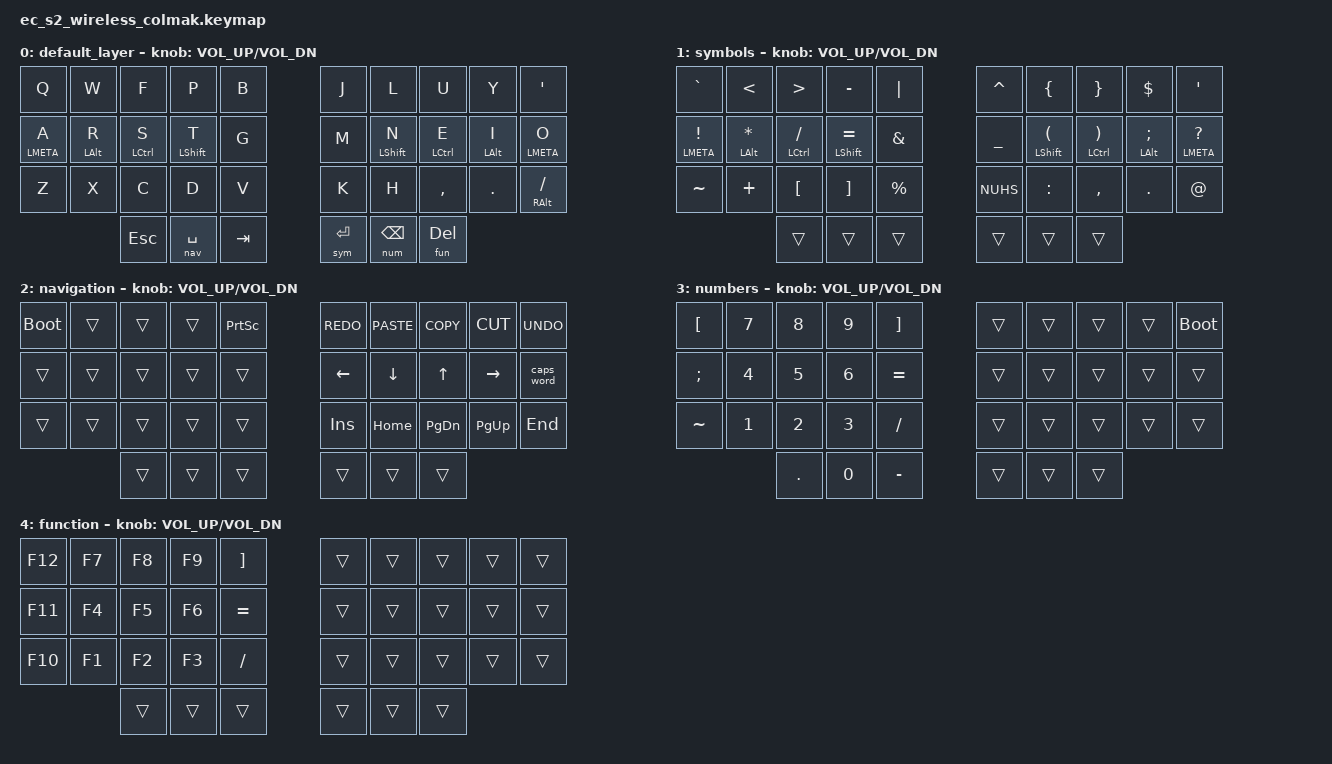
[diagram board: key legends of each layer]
#include <behaviors.dtsi>
#include <dt-bindings/zmk/keys.h>
#include <dt-bindings/zmk/bt.h>

/ {  
  keymap {
    compatible = "zmk,keymap";
    #define sym 1
    #define nav 2
    #define num 3
    #define fun 4

    default_layer {
      bindings = <
        &kp Q        &kp W       &kp F        &kp P        &kp B  &kp J  &kp L        &kp U        &kp Y       &kp SQT
        &mt LMETA A  &mt LALT R  &mt LCTRL S  &mt LSHFT T  &kp G  &kp M  &mt LSHFT N  &mt LCTRL E  &mt LALT I  &mt LMETA O
        &kp Z        &kp X       &kp C        &kp D        &kp V  &kp K  &kp H        &kp COMMA    &kp DOT     &mt RALT SLASH

        &kp ESC  &lt nav SPACE   &kp TAB   &lt sym RETURN  &lt num BSPC   &lt fun DEL 
      >;
      sensor-bindings = <&inc_dec_kp C_VOL_UP C_VOL_DN>;
    }; 

    sym {
      display-name = "symbols";
      bindings = <
        &kp GRAVE  &kp LT     &kp GT     &kp MINUS  &kp PIPE   
        &kp CARET  &kp LBRC   &kp RBRC   &kp DOLLAR  &kp SQT

        &mt LMETA  EXCL  &mt LALT  STAR   &mt LCTRL  SLASH  &mt LSHFT  EQUAL  &kp AMPS  
        &kp UNDER        &mt LSHFT  LPAR  &mt LCTRL  RPAR   &mt LALT  SEMI    &mt LMETA  QMARK

        &kp TILDE  &kp PLUS   &kp LBKT   &kp RBKT    &kp PRCNT  
        &kp NUHS   &kp COLON  &kp COMMA  &kp DOT     &kp AT

                    &trans &trans &trans &trans &trans &trans 
      >;
      sensor-bindings = <&inc_dec_kp C_VOL_UP C_VOL_DN>;
    }; 

    nav {
      display-name = "navigation";
      bindings = <
        &bootloader &trans &trans &trans &kp PSCRN &kp K_REDO    &kp K_PASTE     &kp K_COPY &kp K_CUT   &kp K_UNDO
        &trans &trans &trans &trans &trans &kp LEFT &kp DOWN   &kp UP    &kp RIGHT  &caps_word
        &trans &trans &trans &trans &trans &kp INSERT &kp HOME    &kp PG_DN   &kp PG_UP   &kp END
                    &trans &trans &trans &trans &trans &trans 
      >;
      sensor-bindings = <&inc_dec_kp C_VOL_UP C_VOL_DN>;
    }; 

    num {
      display-name = "numbers";
      bindings = <
        &kp LBKT    &kp N7   &kp N8   &kp N9       &kp RBKT     &trans       &trans    &trans   &trans   &bootloader
        &kp SEMI    &kp N4   &kp N5   &kp N6       &kp EQUAL    &trans       &trans    &trans   &trans   &trans
        &kp TILDE   &kp N1   &kp N2   &kp N3       &kp SLASH    &trans       &trans    &trans   &trans   &trans
                             &kp DOT  &kp N0       &kp MINUS    &trans       &trans    &trans   
      >;
      sensor-bindings = <&inc_dec_kp C_VOL_UP C_VOL_DN>;
    };

    fun {
      display-name = "function";
      bindings = <
        &kp F12    &kp F7   &kp F8   &kp F9       &kp RBKT     &trans       &trans    &trans   &trans   &trans
        &kp F11    &kp F4   &kp F5   &kp F6       &kp EQUAL    &trans       &trans    &trans   &trans   &trans
        &kp F10    &kp F1   &kp F2   &kp F3       &kp SLASH    &trans       &trans    &trans   &trans   &trans
                             &trans &trans &trans &trans       &trans    &trans   
      >;
      sensor-bindings = <&inc_dec_kp C_VOL_UP C_VOL_DN>;
    };
  };
};
